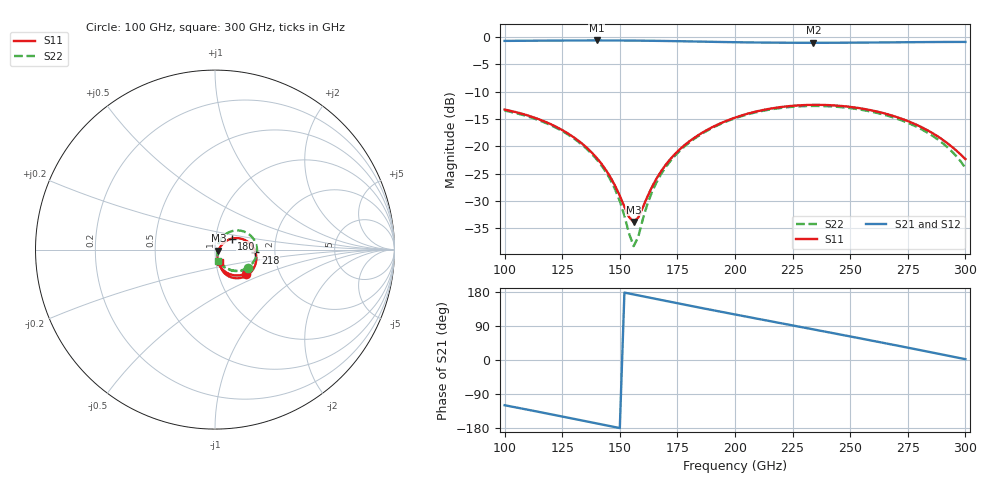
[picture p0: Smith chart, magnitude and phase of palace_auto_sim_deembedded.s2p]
! Created with skrf 1.11.0 (http://scikit-rf.org).
# GHz S DB R 50.0
!freq dBS11 angS11 dBS21 angS21 dBS12 angS12 dBS22 angS22
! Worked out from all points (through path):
!   101 points, 100 GHz to 300 GHz, reference 50 ohm
!   highest |S21| = -0.60 dB at 140 GHz (marker M1); lowest = -1.0 dB at 234 GHz (marker M2)
!   group delay of S21, straight-line fit = 3.3 ps
!   lowest |S11| = -33.9 dB at 156 GHz (marker M3), VSWR 1.04, Z = 51.9 - j0.697 ohm
!   |S11| at or under -10 dB: start of sweep to end of sweep
!   |S22| runs from -38.3 to -12.6 dB; largest |S21 - S12| = 1.1e-14
!   S11 on the Smith chart (normalised r, x): 100 GHz: 1.35, -0.38; 180 GHz: 1.19, +0.15; 218 GHz: 1.58, -0.05; 300 GHz: 1.04, -0.15
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100  -13.27 -37.9  -0.68 -119.3  -0.68 -119.3  -13.45 -28.9
120  -15.94 -59.0  -0.63 -143.1  -0.63 -143.1  -16.13 -48.9
134  -19.64 -71.5  -0.60 -160.1  -0.60 -160.1  -19.86 -61.7
140  -22.14 -74.8  -0.60 -167.4  -0.60 -167.4  -22.42 -65.9
148  -27.27 -71.4  -0.61 -177.2  -0.61 -177.2  -27.93 -66.3
152  -31.07 -57.6  -0.61 177.9  -0.61 177.9  -32.73 -56.6
154  -32.97 -42.1  -0.62 175.4  -0.62 175.4  -35.97 -40.8
156  -33.88 -19.4  -0.63 173.0  -0.63 173.0  -38.31 -7.1
158  -33.06 3.6  -0.63 170.5  -0.63 170.5  -36.62 29.9
162  -29.21 28.7  -0.65 165.6  -0.65 165.6  -30.56 56.6
164  -27.42 33.7  -0.66 163.2  -0.66 163.2  -28.34 60.1
168  -24.52 37.6  -0.68 158.3  -0.68 158.3  -25.05 61.7
174  -21.39 36.9  -0.72 151.1  -0.72 151.1  -21.70 59.2
180  -19.15 33.3  -0.77 143.8  -0.77 143.8  -19.37 54.7
200  -14.75 15.1  -0.92 120.2  -0.92 120.2  -14.87 35.4
218  -12.92 -4.0  -1.00 99.3  -1.00 99.3  -13.08 16.0
234  -12.41 -21.3  -1.02 80.8  -1.02 80.8  -12.60 -1.4
250  -12.78 -38.1  -1.00 62.2  -1.00 62.2  -13.00 -18.8
268  -14.34 -55.8  -0.95 40.9  -0.95 40.9  -14.62 -38.5
286  -17.66 -69.7  -0.89 19.2  -0.89 19.2  -18.15 -58.5
294  -20.04 -71.9  -0.87 9.5  -0.87 9.5  -20.89 -67.4
300  -22.35 -69.4  -0.87 2.1  -0.87 2.1  -23.96 -73.8
